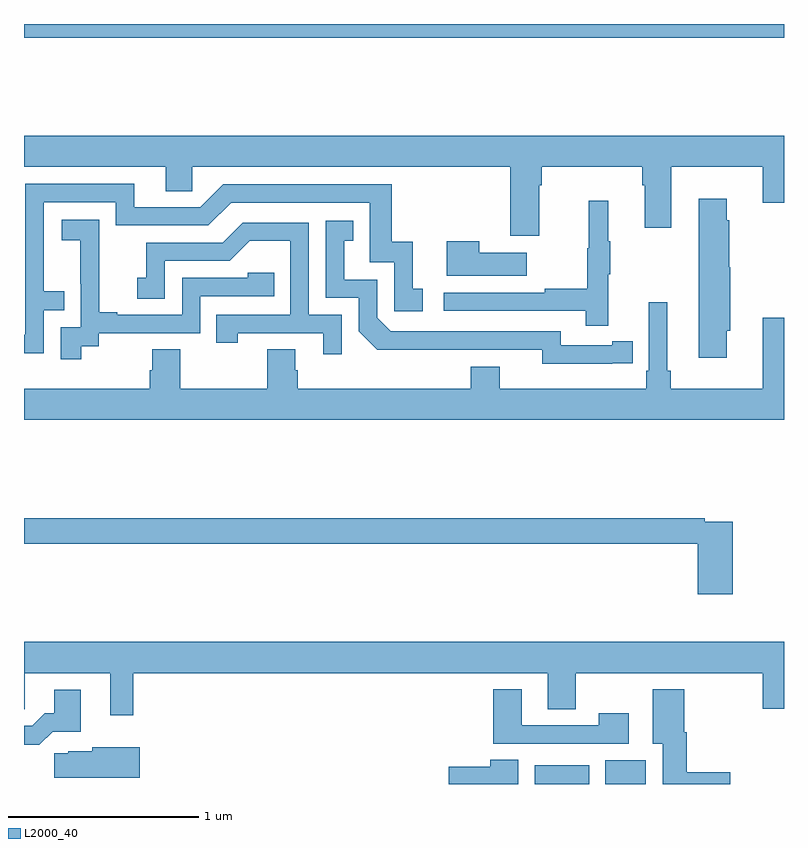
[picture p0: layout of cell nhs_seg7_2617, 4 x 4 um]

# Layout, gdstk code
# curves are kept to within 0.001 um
import gdstk
lib = gdstk.Library(unit=1e-6, precision=1e-09)
def R(c, l, rs):  # rectangles x0, y0, x1, y1
    for r in rs: c.add(gdstk.rectangle(r[:2], r[2:], *l))
def P(c, l, *ps):  # polygons
    for p in ps: c.add(gdstk.Polygon(p, *l))
L2000_40 = (2000, 40)

nhs_seg7_2617 = lib.new_cell('nhs_seg7_2617')
R(nhs_seg7_2617, L2000_40, [(283.688,1032,283.975,1032.1), (284.06,1032,284.272,1032.124), (281,1035.928,285,1036)])
P(nhs_seg7_2617, L2000_40, [(283.711,1035.152),(283.724,1035.152),(283.724,1035.248),(284.255,1035.248),(284.255,1035.152),(284.267,1035.152),(284.267,1034.928),(284.407,1034.928),(284.407,1035.248),(284.888,1035.248),(284.888,1035.06),(285,1035.06),(285,1035.412),(281,1035.412),(281,1035.248),(281.747,1035.248),(281.747,1035.121),(281.886,1035.121),(281.886,1035.248),(283.559,1035.248),(283.559,1034.886),(283.711,1034.886)],
  [(281.103,1034.493),(281.213,1034.493),(281.213,1034.594),(281.103,1034.594),(281.103,1035.063),(281.484,1035.063),(281.484,1034.94),(281.97,1034.94),(282.09,1035.06),(282.819,1035.06),(282.819,1034.745),(282.948,1034.745),(282.948,1034.487),(283.099,1034.487),(283.099,1034.607),(283.046,1034.607),(283.046,1034.853),(282.935,1034.853),(282.935,1035.156),(282.048,1035.156),(281.928,1035.036),(281.581,1035.036),(281.581,1035.159),(281.007,1035.159),(281.007,1034.364),(281,1034.364),(281,1034.268),(281.103,1034.268)],
  [(284.698,1034.385),(284.716,1034.385),(284.716,1034.721),(284.711,1034.721),(284.711,1034.966),(284.698,1034.966),(284.698,1035.079),(284.552,1035.079),(284.552,1034.244),(284.698,1034.244)],
  [(284.075,1034.683),(284.086,1034.683),(284.086,1034.857),(284.075,1034.857),(284.075,1035.07),(283.972,1035.07),(283.972,1034.82),(283.965,1034.82),(283.965,1034.606),(283.741,1034.606),(283.741,1034.586),(283.209,1034.586),(283.209,1034.49),(283.957,1034.49),(283.957,1034.412),(284.075,1034.412)],
  [(281.302,1034.305),(281.394,1034.305),(281.394,1034.373),(281.928,1034.373),(281.928,1034.568),(282.317,1034.568),(282.317,1034.691),(282.177,1034.691),(282.177,1034.664),(281.832,1034.664),(281.832,1034.469),(281.491,1034.469),(281.491,1034.482),(281.396,1034.482),(281.396,1034.765),(281.397,1034.765),(281.397,1034.971),(281.199,1034.971),(281.199,1034.861),(281.297,1034.861),(281.297,1034.632),(281.298,1034.632),(281.298,1034.403),(281.193,1034.403),(281.193,1034.235),(281.302,1034.235)],
  [(284.096,1034.214),(284.204,1034.214),(284.204,1034.33),(284.096,1034.33),(284.096,1034.31),(283.824,1034.31),(283.824,1034.382),(282.93,1034.382),(282.858,1034.454),(282.858,1034.655),(282.685,1034.655),(282.685,1034.859),(282.734,1034.859),(282.734,1034.965),(282.588,1034.965),(282.588,1034.559),(282.762,1034.559),(282.762,1034.382),(282.86,1034.285),(283.728,1034.286),(283.728,1034.213)],
  [(282.672,1034.469),(282.498,1034.469),(282.498,1034.955),(282.152,1034.955),(282.047,1034.85),(281.644,1034.85),(281.644,1034.665),(281.595,1034.665),(281.595,1034.555),(281.742,1034.555),(281.742,1034.754),(282.084,1034.754),(282.188,1034.858),(282.402,1034.858),(282.402,1034.469),(282.013,1034.469),(282.013,1034.322),(282.124,1034.322),(282.124,1034.373),(282.575,1034.373),(282.575,1034.262),(282.672,1034.262)],
  [(283.645,1034.797),(283.397,1034.797),(283.397,1034.857),(283.226,1034.857),(283.226,1034.675),(283.645,1034.675)],
  [(285,1034.455),(284.888,1034.455),(284.888,1034.08),(284.405,1034.08),(284.405,1034.176),(284.386,1034.176),(284.386,1034.536),(284.289,1034.536),(284.289,1034.176),(284.276,1034.176),(284.276,1034.08),(283.504,1034.08),(283.504,1034.197),(283.352,1034.197),(283.352,1034.08),(282.44,1034.08),(282.44,1034.178),(282.427,1034.178),(282.427,1034.288),(282.28,1034.288),(282.28,1034.08),(281.823,1034.08),(281.823,1034.288),(281.675,1034.288),(281.675,1034.178),(281.663,1034.178),(281.663,1034.08),(281,1034.08),(281,1033.916),(285,1033.916)],
  [(284.729,1033.38),(284.582,1033.38),(284.582,1033.4),(281,1033.4),(281,1033.264),(284.546,1033.264),(284.546,1032.999),(284.729,1032.999)],
  [(281.575,1032.584),(283.757,1032.584),(283.757,1032.394),(283.905,1032.394),(283.905,1032.584),(284.888,1032.584),(284.888,1032.396),(285,1032.396),(285,1032.748),(281,1032.748),(281,1032.394),(281.004,1032.394),(281.004,1032.584),(281.453,1032.584),(281.453,1032.363),(281.575,1032.363)],
  [(284.182,1032.373),(284.026,1032.373),(284.026,1032.309),(283.621,1032.309),(283.621,1032.499),(283.469,1032.499),(283.469,1032.213),(284.182,1032.213)],
  [(284.716,1032.061),(284.489,1032.061),(284.489,1032.272),(284.476,1032.272),(284.476,1032.499),(284.309,1032.499),(284.309,1032.212),(284.363,1032.212),(284.363,1032),(284.716,1032)],
  [(281.151,1032.276),(281.299,1032.276),(281.299,1032.496),(281.159,1032.496),(281.159,1032.373),(281.11,1032.373),(281.043,1032.306),(281,1032.306),(281,1032.206),(281.081,1032.206)],
  [(281.608,1032.193),(281.358,1032.193),(281.358,1032.172),(281.232,1032.172),(281.232,1032.161),(281.16,1032.161),(281.16,1032.032),(281.608,1032.032)],
  [(283.6,1032.128),(283.454,1032.128),(283.454,1032.092),(283.236,1032.092),(283.236,1032),(283.6,1032)])

lib.write_gds('nhs_seg7_2617.gds')
